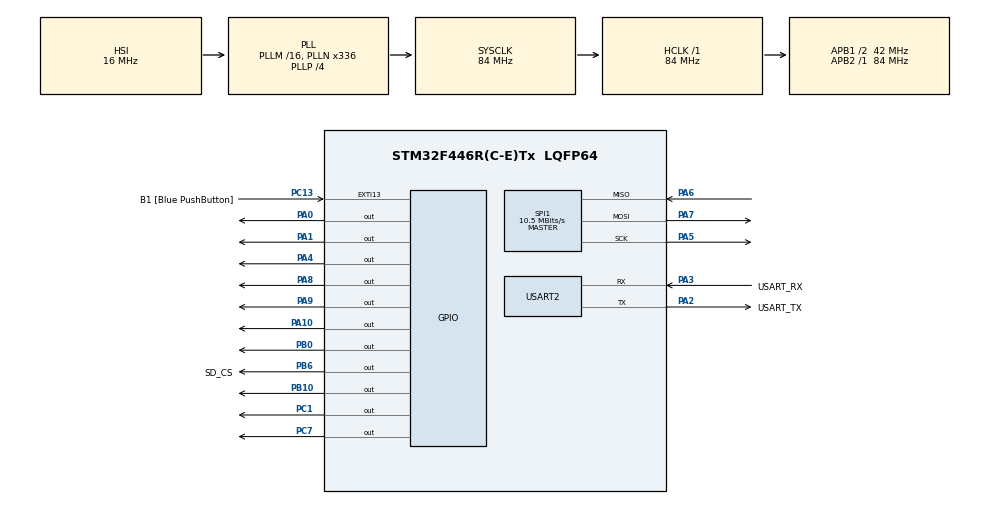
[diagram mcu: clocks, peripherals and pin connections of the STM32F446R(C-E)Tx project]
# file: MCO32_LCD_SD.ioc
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FATFS._MAX_SS=4096
FATFS._USE_LFN=1
Mcu.Family=STM32F4
Mcu.Name=STM32F446R(C-E)Tx
Mcu.Package=LQFP64
NVIC.PriorityGroup=NVIC_PRIORITYGROUP_0
PA0-WKUP.Signal=GPIO_Output
PA1.Signal=GPIO_Output
PA10.Signal=GPIO_Output
PA13.GPIO_Label=TMS
PA13.Mode=Serial_Wire
PA13.Signal=SYS_JTMS-SWDIO
PA14.GPIO_Label=TCK
PA14.Mode=Serial_Wire
PA14.Signal=SYS_JTCK-SWCLK
PA2.GPIO_Label=USART_TX
PA2.Mode=Asynchronous
PA2.Signal=USART2_TX
PA3.GPIO_Label=USART_RX
PA3.Mode=Asynchronous
PA3.Signal=USART2_RX
PA4.Signal=GPIO_Output
PA5.Mode=Full_Duplex_Master
PA5.Signal=SPI1_SCK
PA6.Mode=Full_Duplex_Master
PA6.Signal=SPI1_MISO
PA7.Mode=Full_Duplex_Master
PA7.Signal=SPI1_MOSI
PA8.Signal=GPIO_Output
PA9.Signal=GPIO_Output
PB0.Signal=GPIO_Output
PB10.Signal=GPIO_Output
PB3.GPIO_Label=SWO
PB3.Signal=SYS_JTDO-SWO
PB6.GPIO_Label=SD_CS
PB6.GPIO_Speed=GPIO_SPEED_FREQ_MEDIUM
PB6.PinState=GPIO_PIN_SET
PB6.Signal=GPIO_Output
PC1.Signal=GPIO_Output
PC13.GPIO_Label=B1 [Blue PushButton]
PC13.GPIO_ModeDefaultEXTI=GPIO_MODE_IT_FALLING
PC13.Signal=GPXTI13
PC14-OSC32_IN.Mode=LSE-External-Oscillator
PC14-OSC32_IN.Signal=RCC_OSC32_IN
PC15-OSC32_OUT.Mode=LSE-External-Oscillator
PC15-OSC32_OUT.Signal=RCC_OSC32_OUT
PC7.Signal=GPIO_Output
PH0-OSC_IN.Mode=HSE-External-Oscillator
PH0-OSC_IN.Signal=RCC_OSC_IN
PH1-OSC_OUT.Mode=HSE-External-Oscillator
PH1-OSC_OUT.Signal=RCC_OSC_OUT
ProjectManager.HeapSize=0x200
ProjectManager.StackSize=0x400
ProjectManager.TargetToolchain=STM32CubeIDE
RCC.48MHZClocksFreq_Value=84000000
RCC.AHBFreq_Value=84000000
RCC.APB1CLKDivider=RCC_HCLK_DIV2
RCC.APB1Freq_Value=42000000
RCC.APB1TimFreq_Value=84000000
RCC.APB2Freq_Value=84000000
RCC.APB2TimFreq_Value=84000000
RCC.CortexFreq_Value=84000000
RCC.FLatency-AdvancedSettings=FLASH_LATENCY_2
RCC.HCLKFreq_Value=84000000
RCC.HSE_VALUE=8000000
RCC.HSI_VALUE=16000000
RCC.PLLN=336
RCC.PLLP=RCC_PLLP_DIV4
RCC.SYSCLKFreq_VALUE=84000000
RCC.SYSCLKSource=RCC_SYSCLKSOURCE_PLLCLK
RCC.USBFreq_Value=168000000
RCC.VCOOutputFreq_Value=336000000
SPI1.BaudRatePrescaler=SPI_BAUDRATEPRESCALER_8
SPI1.CalculateBaudRate=10.5 MBits/s
SPI1.Direction=SPI_DIRECTION_2LINES
SPI1.Mode=SPI_MODE_MASTER
SPI1.VirtualType=VM_MASTER
TIM1.AutoReloadPreload=TIM_AUTORELOAD_PRELOAD_ENABLE
TIM1.Period=0xFFFF-1
TIM1.Prescaler=84-1
USART2.VirtualMode=VM_ASYNC
VP_FATFS_VS_Generic.Mode=User_defined
VP_TIM1_VS_ClockSourceINT.Mode=Internal
board=NUCLEO-F446RE

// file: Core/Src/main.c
/* USER CODE BEGIN Header */
/**
  ******************************************************************************
  * @file           : main.c
  * @brief          : Main program body
  ******************************************************************************
  * @attention
  *
  * Copyright (c) 2022 STMicroelectronics.
  * All rights reserved.
  *
  * This software is licensed under terms that can be found in the LICENSE file
  * in the root directory of this software component.
  * If no LICENSE file comes with this software, it is provided AS-IS.
  *
  ******************************************************************************
  */
/* USER CODE END Header */
#include "main.h"
#include "fatfs.h"

/* USER CODE BEGIN Includes */
#include "fonts.h"
#include "tft.h"
#include "user_setting.h"
#include "functions.h"
#include "stdio.h"
#include "fatfs_sd.h"
#include <string.h>
/* USER CODE END Includes */

/* USER CODE BEGIN PD */

#define EX1 1 //Exemplo 1 - criação e escrita - OK
//#define EX2 2 //Exemplo 2 - leitura - OK
//#define EX3 3 //Exemplo 3 - leitura de arquivo binário
//#define EX4 4 //Exemplo 4 - leitura de bitmap e escrita no LCD - OK

/* USER CODE END PD */

SPI_HandleTypeDef hspi1;

TIM_HandleTypeDef htim1;

UART_HandleTypeDef huart2;

void SystemClock_Config(void);
static void MX_GPIO_Init(void);
static void MX_USART2_UART_Init(void);
static void MX_TIM1_Init(void);
static void MX_SPI1_Init(void);
/* USER CODE BEGIN PFP */
void LCD_TxBMP(unsigned char* data, unsigned int BitmapStart);
/* USER CODE END PFP */

/* USER CODE BEGIN 0 */
FATFS fs0, fs1; /* Work area (filesystem object) for
logical drives */
FIL fsrc, fdst; /* File objects */
BYTE buffer[4096]; /* File copy buffer */
FRESULT fr; /* FatFs function common result code */
UINT br, bw; /* File read/write count */

uint16_t ID = 0; //ID do display

#if defined EX4
	uint32_t first; //Flag para leitura de .bmp
#endif

/* USER CODE END 0 */

int main(void)
{
  /* USER CODE BEGIN 1 */
	int32_t size;
	char texto[50];

#if defined EX2 || defined EX3 || defined EX4
	char nome[40];
#endif

#if defined EX3 || defined EX4
	int32_t i;
#endif
  /* USER CODE END 1 */

  /* MCU Configuration--------------------------------------------------------*/

  /* Reset of all peripherals, Initializes the Flash interface and the Systick. */
  HAL_Init();

  /* Configure the system clock */
  SystemClock_Config();

  /* Initialize all configured peripherals */
  MX_GPIO_Init();
  MX_USART2_UART_Init();
  MX_TIM1_Init();
  MX_SPI1_Init();
  MX_FATFS_Init();

  /* USER CODE BEGIN 2 */

  /* Sequência de inicialização do LCD */

  tft_gpio_init(); //Inicializa os GPIOs do LCD (evita uso do CubeMX)
  HAL_TIM_Base_Start(&htim1); //Inicializa o Timer1 (base de tempo de us do LCD)
  ID = tft_readID(); //Lê o ID do LCD (poderia ser chamada pela inicialização do LCD)
  HAL_Delay(100);
  tft_init(ID); //Inicializa o LCD de acordo com seu ID
  setRotation(0); //Ajusta a orientação da tela
  fillScreen(BLACK); //Preenche a tela em uma só cor
  //Mensagem de texto
  printnewtstr(20, YELLOW, &mono12x7bold, 1, (uint8_t *)"Teste SD Card");

#ifdef EX1 /* Início: Exemplo 1 - criação e escrita */

  size = sprintf(texto, "Exemplo de CRIACAO e ESCRITA\r\n");
  HAL_UART_Transmit(&huart2, (uint8_t *)texto, size, 100);
  //Prepara a área de trabalho para o FatFs
  fr = f_mount(&fs0, "", 0);
  if(fr != FR_OK)
  {
	  size = sprintf(texto, "f_mount error: %d\r\n", (int)fr);
	  HAL_UART_Transmit(&huart2, (uint8_t *)texto, size, 100);
	  printnewtstr(100, RED, &mono12x7bold, 1, (uint8_t *)"Falha!!!");
	  return 1;
  }
  //Cria um arquivo
  fr = f_open(&fsrc, "newfile.txt", FA_WRITE | FA_CREATE_ALWAYS); /* Cria o arquivo */
  if (fr == FR_OK)
  {
	  f_write(&fsrc, "Funcionou!\r\n", 11, &bw); /* Escreve dados no arquivo */
	  fr = f_close(&fsrc);
	  /* Fecha o arquivo */
	  if (fr == FR_OK)
	  {
		  size = sprintf(texto, "Arquivo criado com sucesso\r\n");
		  HAL_UART_Transmit(&huart2, (uint8_t *)texto, size, 100);
		  printnewtstr(100, GREEN, &mono12x7bold, 1,
				  (uint8_t *)"Sucesso!!!");
	  }
  }
  else
  {
	  size = sprintf(texto, "f_open error: %d\r\n", (int)fr);
	  HAL_UART_Transmit(&huart2, (uint8_t *)texto, size, 100);
	  printnewtstr(100, RED, &mono12x7bold, 1, (uint8_t *)"Falha!!!");
	  return 1;
  }

#endif /* Fim: Exemplo 1 - criação e escrita */

#ifdef EX2 /* Início: Exemplo 2 - leitura */

  size = sprintf(texto, "Exemplo de LEITURA\r\n");
  HAL_UART_Transmit(&huart2, (uint8_t *)texto, size, 100);
  //Prepara a área de trabalho para o FatFs
  fr = f_mount(&fs0, "", 0);
  if(fr != FR_OK)
  {
	  size = sprintf(texto, "f_mount error: %d\r\n", (int)fr);
	  HAL_UART_Transmit(&huart2, (uint8_t *)texto, size, 100);
	  printnewtstr(100, RED, &mono12x7bold, 1, (uint8_t *)"Falha1!!!");
	  return 1;
  }
  //Lê um arquivo
  buffer[0] = 0;
  strcpy(nome, "newfile.txt");
  //strcpy(nome, "texto/Teste.txt");
  fr = f_open(&fsrc, nome, FA_READ);
  if(fr == FR_OK)
  {
	  //Entra em um loop de leitura de dados do arquivo e escrita na serial e LCD
	  //até alcançar o fim do arquivo
	  do
	  {
		  //Lê um bloco de dados do arquivo. Lê o tanto que cabe no buffer,
		  //incluindo espaços e carcteres nulos
		  fr = f_read(&fsrc,
				  /* [IN] File object */
				  buffer,
				  /* [OUT] Buffer to store read data */
				  sizeof(buffer) - 1,
				  /* [IN] Number of bytes to read */
				  (UINT *)&br);
		  /* [OUT] Number of bytes read */
		  //Se houver algum erro na leitura, retorna o erro ao usuário
		  if(fr != FR_OK)
		  {
			  size = sprintf(texto, "f_read error: %d\r\n", (int)fr);
			  HAL_UART_Transmit(&huart2, (uint8_t *)texto, size, 100);
			  printnewtstr(100, RED, &mono12x7bold, 1, (uint8_t *)"Falha2!!!");
			  break;
		  }
		  //Finaliza a string com um nulo
		  buffer[br] = 0;
		  //Escreve na serial o último pedaço de arquivo lido
		  size = br;
		  HAL_UART_Transmit(&huart2, (uint8_t *)buffer, size, 1000);
		  //Escreve no LCD os últimos 16 caracteres lidos
		  printnewtstr(150, WHITE, &mono12x7bold, 1, (uint8_t *)"Leitura (<=16):");
		  if(br>16) buffer[16] = '\0';
		  else buffer[br] = '\0';
		  printnewtstr(200, WHITE, &mono12x7bold, 1, (uint8_t *)buffer);
	  }
	  while(br == sizeof(buffer) - 1);
	  //Repete até a quantidade lida for menor que o buffer, indicação que acabou o arquivo (último pacote)
  }
  if (fr == FR_OK)
  {
	  size = sprintf(texto, "\r\nArquivo lido com sucesso\r\n");
	  HAL_UART_Transmit(&huart2, (uint8_t *)texto, size, 100);
	  printnewtstr(100, GREEN, &mono12x7bold, 1, (uint8_t *)"Sucesso!!!");
  }

  fr = f_close(&fsrc);
  //Se teve sucesso
  if (fr == FR_OK)
  {
	  size = sprintf(texto, "\r\nArquivo fechado com sucesso\r\n");
	  HAL_UART_Transmit(&huart2, (uint8_t *)texto, size, 100);
  }

#endif /* Fim: Exemplo 2 - leitura */

#ifdef EX3 /* Início: Exemplo 3 - leitura de arquivo binário */
  size = sprintf(texto, "Exemplo de LEITURA de arquivo BINARIO\r\n");
  HAL_UART_Transmit(&huart2, (uint8_t *)texto, size, 100);
  //Prepara a área de trabalho para o FatFs
  fr = f_mount(&fs0, "", 0);
  if(fr != FR_OK)
  {
	  size = sprintf(texto, "f_mount error: %d\r\n", (int)fr);
	  HAL_UART_Transmit(&huart2, (uint8_t *)texto, size, 100);
	  printnewtstr(100, RED, &mono12x7bold, 1, (uint8_t *)"Falha!!!");
	  return 1;
  }
  //Lê um arquivo
  buffer[0] = 0;
  strcpy(nome, "newfile.txt");//strcpy(nome, "texto/Teste.txt");
  fr = f_open(&fsrc, nome, FA_READ);
  if(fr == FR_OK)
  {
	  //Entra em um loop de leitura de dados do arquivo e escrita na serial e LCD
	  //até alcançar o fim do arquivo
	  do
	  {
		  //Lê um bloco de dados do arquivo. Lê o tanto que cabe no buffer,
		  //incluindo espaços e carcteres nulos
		  fr = f_read(&fsrc,
				  /* [IN] File object */
				  buffer,
				  /* [OUT] Buffer to store read data */
				  sizeof(buffer) - 1,
				  /* [IN] Number of bytes to read */
				  (UINT *)&br);
		  /* [OUT] Number of bytes read */
		  //Se houver algum erro na leitura, retorna o erro ao usuário
		  if(fr != FR_OK)
		  {
			  size = sprintf(texto, "f_read error: %d\r\n", (int)fr);
			  HAL_UART_Transmit(&huart2, (uint8_t *)texto, size, 100);
			  printnewtstr(100, RED, &mono12x7bold, 1, (uint8_t *)"Falha!!!");
			  break;
		  }
		  //Finaliza a string com um nulo
		  buffer[br] = 0;
		  //Escreve na serial o último pedaço de arquivo lido
		  for (i = 0; i < br; i++)
		  {
			  size = sprintf(texto, "%02X ",buffer[i]);
			  HAL_UART_Transmit(&huart2, (uint8_t *)texto, size, 1000);
		  }
		  //Escreve no LCD os últimos 16 caracteres lidos
		  printnewtstr(150, WHITE, &mono12x7bold, 1, (uint8_t *)"Leitura Bi(<=8):");
				  i = 0;
		  size = sprintf(texto, "%02X",buffer[i++]);
		  //1os caracteres
		  printnewtstr(200, WHITE, &mono12x7bold, 1, (uint8_t *)texto);
		  //Demais caracteres
		  while(i < 8 && i < br)
		  {
			  size = sprintf(texto, "%02X",buffer[i++]);
			  printstr((uint8_t *)texto);
		  }
	  }
	  while(br == sizeof(buffer) - 1);
	  //Repete até a quantidade lida for menor que o buffer, indicação que acabou o arquivo (último pacote)
  }
  if (fr == FR_OK)
  {
	  size = sprintf(texto, "\r\nArquivo lido com sucesso\r\n");
	  HAL_UART_Transmit(&huart2, (uint8_t *)texto, size, 100);
	  printnewtstr(100, GREEN, &mono12x7bold, 1,
			  (uint8_t *)"Sucesso!!!");
  }

#endif /* Fim: Exemplo 3 - leitura de arquivo binário */

#ifdef EX4 /* Início: Exemplo 4 - leitura de bitmap e escrita no LCD */

  size = sprintf(texto, "Exemplo de LEITURA de BITMAP e escrita no LCD\r\n");
  HAL_UART_Transmit(&huart2, (uint8_t *)texto, size, 100);
  //Prepara a área de trabalho para o FatFs
  fr = f_mount(&fs0, "", 0);
  if(fr != FR_OK)
  {
	  size = sprintf(texto, "f_mount error: %d\r\n", (int)fr);
	  HAL_UART_Transmit(&huart2, (uint8_t *)texto, size, 100);
	  printnewtstr(100, RED, &mono12x7bold, 1,
			  (uint8_t *)"Falha!!!");
	  return 1;
  }
  while(1)
  {
	  /* 1a imagem */

	  //Primeiro bloco de dados, onde está o cabeçalho do BMP
	  first = 1;
	  //"Limpa" o buffer
	  buffer[0] = 0;
	  //Define o nome do arquivo BMP 24 bits a ser aberto
	  strcpy(nome, "Imagens/Homerinv.bmp");
	  //strcpy(buffer, "Imagens/Lisa.bmp");
	  //Abre o arquivo como leitura
	  fr = f_open(&fsrc, nome, FA_READ);
	  //Se teve sucesso
	  if(fr == FR_OK)
	  {
		  //Loop de leitura de setores (512 bytes), lê até acabar o arquivo
		  do
		  {
			  //Lê um setor do arquivo e armazena no buffer temporário
			  fr = f_read(&fsrc,
					  /* [IN] File object */
					  buffer,
					  /* [OUT] Buffer to store read data */
					  512,
					  /* [IN] Number of bytes to read */
					  (UINT *)&br);
			  /* [OUT] Number of bytes read *///Se ocorrer algum erro mostra na UART e aborta
			  if(fr != FR_OK)
			  {
				  size = sprintf(texto, "f_read error: %d\r\n", (int)fr);
				  HAL_UART_Transmit(&huart2, (uint8_t *)texto, size, 100);
			  }
			  //Termina o bloco lido com um caractere nulo (sem efeito para o LCD)
			  buffer[br] = 0;
			  //Envia byte a byte em hexa pela UART
			  // for (i = 0; i < br; i++)
			  // {
			  // size = sprintf(texto, "%02X ",buffer[i]);
			  // HAL_UART_Transmit(&huart2, (uint8_t *)texto, size, 1000);
			  // }
			  //Envia o setor para o LCD
			  LCD_TxBMP((unsigned char*)buffer, first);
			  //Limpa a flag de primeiro setor (cabeçalho nos primeiros 54 bytes)
			  first = 0;
		  }
		  while(br == 512);
		  //Repete até a quantidade lida for menor que o buffer, indicação que acabou o arquivo (último pacote)
		  //Fecha o arquivo (não é necessário para leitura, mas recomendado para compatibilidade futura)
		  fr = f_close(&fsrc);
		  //Se teve sucesso
		  if (fr == FR_OK)
		  {
			  size = sprintf(texto, "\r\nArquivo fechado com sucesso\r\n");
			  HAL_UART_Transmit(&huart2, (uint8_t *)texto, size, 100);
		  }
	  }
	  if (fr == FR_OK)
	  {
		  size = sprintf(texto, "\r\nArquivo 1 lido com sucesso\r\n");
		  HAL_UART_Transmit(&huart2, (uint8_t *)texto, size, 100);
	  }
	  HAL_Delay(3000);
	  printnewtstr(200, YELLOW, &mono12x7bold, 1,
			  (uint8_t *)" Escrita no LCD ");
	  printnewtstr(220, YELLOW, &mono12x7bold, 1,
			  (uint8_t *)" apos acesso ao ");
	  printnewtstr(240, YELLOW, &mono12x7bold, 1,
			  (uint8_t *)" SD Card ");
	  HAL_Delay(2000);
	  fillScreen(BLUE);
	  HAL_Delay(2000);

	  /* 2a imagem */

	  //Primeiro bloco de dados, onde está o cabeçalho do BMP
	  first = 1;
	  //"Limpa" o buffer
	  buffer[0] = 0;
	  //Define o nome do arquivo BMP 24 bits a ser aberto
	  strcpy(nome, "Imagens/Homer2in.bmp");//strcpy(buffer, "Imagens/Lisa.bmp");
	  //Abre o arquivo como leitura
	  fr = f_open(&fsrc, nome, FA_READ);
	  //Se teve sucesso
	  if(fr == FR_OK)
	  {
		  //Loop de leitura de setores (512 bytes), lê até acabar o arquivo
		  do
		  {
			  //Lê um setor do arquivo e armazena no buffer temporário
			  fr = f_read(&fsrc,
					  /* [IN]File object */
					  buffer,
					  /* [OUT] Buffer to store read data */
					  512,
					  /* [IN] Number of bytes to read */
					  (UINT *)&br);
			  /* [OUT] Number of bytes read */
			  //Se ocorrer algum erro mostra na UART e aborta
			  if(fr != FR_OK)
			  {
				  size = sprintf(texto, "f_mount error: %d\r\n", (int)fr);
				  HAL_UART_Transmit(&huart2, (uint8_t *)texto, size, 100);
			  }
			  //Termina o bloco lido com um caractere nulo (sem efeito para o LCD)
			  buffer[br] = 0;
			  //Envia byte a byte em hexa pela UART
			  // for (i = 0; i < br; i++)
			  // {
			  // size = sprintf(texto, "%02X ",buffer[i]);
			  // HAL_UART_Transmit(&huart2, (uint8_t *)texto, size, 1000);
			  // }
			  //Envia o setor para o LCD
			  LCD_TxBMP((unsigned char*)buffer, first);
			  //Limpa a flag de primeiro setor (cabeçalho nos primeiros 54 bytes)
			  first = 0;
		  }
		  while(br == 512);
		  //Repete até a quantidade lida for menor que o buffer, indicação que acabou o arquivo (último pacote)
		  //Fecha o arquivo (não é necessário para leitura, mas recomendado para compatibilidade futura)
		  fr = f_close(&fsrc);
		  //Se teve sucesso
		  if (fr == FR_OK)
		  {
			  size = sprintf(texto, "\r\nArquivo fechado com sucesso\r\n");
			  HAL_UART_Transmit(&huart2, (uint8_t *)texto, size, 100);
		  }
	  }
	  if (fr == FR_OK)
	  {
		  size = sprintf(texto, "\r\nArquivo 2 lido com sucesso\r\n");
		  HAL_UART_Transmit(&huart2, (uint8_t *)texto, size, 100);
	  }
	  HAL_Delay(3000);
	  printnewtstr(200, YELLOW, &mono12x7bold, 1,
			  (uint8_t *)" Escrita no LCD ");
	  printnewtstr(220, YELLOW, &mono12x7bold, 1,(uint8_t *)" apos acesso ao ");
	  printnewtstr(240, YELLOW, &mono12x7bold, 1,
			  (uint8_t *)" SD Card ");
	  HAL_Delay(2000);
	  fillScreen(BLACK);
	  HAL_Delay(2000);
  }

#endif /* Fim: Exemplo 4 - leitura de bitmap e escrita no LCD */

  /* USER CODE END 2 */

  /* Infinite loop */
  while (1)
  {

  }
}

void SystemClock_Config(void)
{
  RCC_OscInitTypeDef RCC_OscInitStruct = {0};
  RCC_ClkInitTypeDef RCC_ClkInitStruct = {0};

  /** Configure the main internal regulator output voltage
  */
  __HAL_RCC_PWR_CLK_ENABLE();
  __HAL_PWR_VOLTAGESCALING_CONFIG(PWR_REGULATOR_VOLTAGE_SCALE3);

  /** Initializes the RCC Oscillators according to the specified parameters
  * in the RCC_OscInitTypeDef structure.
  */
  RCC_OscInitStruct.OscillatorType = RCC_OSCILLATORTYPE_HSI;
  RCC_OscInitStruct.HSIState = RCC_HSI_ON;
  RCC_OscInitStruct.HSICalibrationValue = RCC_HSICALIBRATION_DEFAULT;
  RCC_OscInitStruct.PLL.PLLState = RCC_PLL_ON;
  RCC_OscInitStruct.PLL.PLLSource = RCC_PLLSOURCE_HSI;
  RCC_OscInitStruct.PLL.PLLM = 16;
  RCC_OscInitStruct.PLL.PLLN = 336;
  RCC_OscInitStruct.PLL.PLLP = RCC_PLLP_DIV4;
  RCC_OscInitStruct.PLL.PLLQ = 2;
  RCC_OscInitStruct.PLL.PLLR = 2;
  if (HAL_RCC_OscConfig(&RCC_OscInitStruct) != HAL_OK)
  {
    Error_Handler();
  }

  /** Initializes the CPU, AHB and APB buses clocks
  */
  RCC_ClkInitStruct.ClockType = RCC_CLOCKTYPE_HCLK|RCC_CLOCKTYPE_SYSCLK
                              |RCC_CLOCKTYPE_PCLK1|RCC_CLOCKTYPE_PCLK2;
  RCC_ClkInitStruct.SYSCLKSource = RCC_SYSCLKSOURCE_PLLCLK;
  RCC_ClkInitStruct.AHBCLKDivider = RCC_SYSCLK_DIV1;
  RCC_ClkInitStruct.APB1CLKDivider = RCC_HCLK_DIV2;
  RCC_ClkInitStruct.APB2CLKDivider = RCC_HCLK_DIV1;

  if (HAL_RCC_ClockConfig(&RCC_ClkInitStruct, FLASH_LATENCY_2) != HAL_OK)
  {
    Error_Handler();
  }
}

static void MX_SPI1_Init(void)
{

  /* SPI1 parameter configuration*/
  hspi1.Instance = SPI1;
  hspi1.Init.Mode = SPI_MODE_MASTER;
  hspi1.Init.Direction = SPI_DIRECTION_2LINES;
  hspi1.Init.DataSize = SPI_DATASIZE_8BIT;
  hspi1.Init.CLKPolarity = SPI_POLARITY_LOW;
  hspi1.Init.CLKPhase = SPI_PHASE_1EDGE;
  hspi1.Init.NSS = SPI_NSS_SOFT;
  hspi1.Init.BaudRatePrescaler = SPI_BAUDRATEPRESCALER_8;
  hspi1.Init.FirstBit = SPI_FIRSTBIT_MSB;
  hspi1.Init.TIMode = SPI_TIMODE_DISABLE;
  hspi1.Init.CRCCalculation = SPI_CRCCALCULATION_DISABLE;
  hspi1.Init.CRCPolynomial = 10;
  if (HAL_SPI_Init(&hspi1) != HAL_OK)
  {
    Error_Handler();
  }

}

static void MX_TIM1_Init(void)
{

  TIM_ClockConfigTypeDef sClockSourceConfig = {0};
  TIM_MasterConfigTypeDef sMasterConfig = {0};

  htim1.Instance = TIM1;
  htim1.Init.Prescaler = 84-1;
  htim1.Init.CounterMode = TIM_COUNTERMODE_UP;
  htim1.Init.Period = 0xFFFF-1;
  htim1.Init.ClockDivision = TIM_CLOCKDIVISION_DIV1;
  htim1.Init.RepetitionCounter = 0;
  htim1.Init.AutoReloadPreload = TIM_AUTORELOAD_PRELOAD_ENABLE;
  if (HAL_TIM_Base_Init(&htim1) != HAL_OK)
  {
    Error_Handler();
  }
  sClockSourceConfig.ClockSource = TIM_CLOCKSOURCE_INTERNAL;
  if (HAL_TIM_ConfigClockSource(&htim1, &sClockSourceConfig) != HAL_OK)
  {
    Error_Handler();
  }
  sMasterConfig.MasterOutputTrigger = TIM_TRGO_RESET;
  sMasterConfig.MasterSlaveMode = TIM_MASTERSLAVEMODE_DISABLE;
  if (HAL_TIMEx_MasterConfigSynchronization(&htim1, &sMasterConfig) != HAL_OK)
  {
    Error_Handler();
  }

}

static void MX_USART2_UART_Init(void)
{

  huart2.Instance = USART2;
  huart2.Init.BaudRate = 115200;
  huart2.Init.WordLength = UART_WORDLENGTH_8B;
  huart2.Init.StopBits = UART_STOPBITS_1;
  huart2.Init.Parity = UART_PARITY_NONE;
  huart2.Init.Mode = UART_MODE_TX_RX;
  huart2.Init.HwFlowCtl = UART_HWCONTROL_NONE;
  huart2.Init.OverSampling = UART_OVERSAMPLING_16;
  if (HAL_UART_Init(&huart2) != HAL_OK)
  {
    Error_Handler();
  }

}

static void MX_GPIO_Init(void)
{
  GPIO_InitTypeDef GPIO_InitStruct = {0};

  /* GPIO Ports Clock Enable */
  __HAL_RCC_GPIOC_CLK_ENABLE();
  __HAL_RCC_GPIOH_CLK_ENABLE();
  __HAL_RCC_GPIOA_CLK_ENABLE();
  __HAL_RCC_GPIOB_CLK_ENABLE();

  /*Configure GPIO pin Output Level */
  HAL_GPIO_WritePin(GPIOC, GPIO_PIN_1|GPIO_PIN_7, GPIO_PIN_RESET);

  /*Configure GPIO pin Output Level */
  HAL_GPIO_WritePin(GPIOA, GPIO_PIN_0|GPIO_PIN_1|GPIO_PIN_4|GPIO_PIN_8
                          |GPIO_PIN_9|GPIO_PIN_10, GPIO_PIN_RESET);

  /*Configure GPIO pin Output Level */
  HAL_GPIO_WritePin(GPIOB, GPIO_PIN_0|GPIO_PIN_10, GPIO_PIN_RESET);

  /*Configure GPIO pin Output Level */
  HAL_GPIO_WritePin(SD_CS_GPIO_Port, SD_CS_Pin, GPIO_PIN_SET);

  /*Configure GPIO pin : B1_Pin */
  GPIO_InitStruct.Pin = B1_Pin;
  GPIO_InitStruct.Mode = GPIO_MODE_IT_FALLING;
  GPIO_InitStruct.Pull = GPIO_NOPULL;
  HAL_GPIO_Init(B1_GPIO_Port, &GPIO_InitStruct);

  /*Configure GPIO pins : PC1 PC7 */
  GPIO_InitStruct.Pin = GPIO_PIN_1|GPIO_PIN_7;
  GPIO_InitStruct.Mode = GPIO_MODE_OUTPUT_PP;
  GPIO_InitStruct.Pull = GPIO_NOPULL;
  GPIO_InitStruct.Speed = GPIO_SPEED_FREQ_LOW;
  HAL_GPIO_Init(GPIOC, &GPIO_InitStruct);

  /*Configure GPIO pins : PA0 PA1 PA4 PA8
                           PA9 PA10 */
  GPIO_InitStruct.Pin = GPIO_PIN_0|GPIO_PIN_1|GPIO_PIN_4|GPIO_PIN_8
                          |GPIO_PIN_9|GPIO_PIN_10;
  GPIO_InitStruct.Mode = GPIO_MODE_OUTPUT_PP;
  GPIO_InitStruct.Pull = GPIO_NOPULL;
  GPIO_InitStruct.Speed = GPIO_SPEED_FREQ_LOW;
  HAL_GPIO_Init(GPIOA, &GPIO_InitStruct);

  /*Configure GPIO pins : PB0 PB10 */
  GPIO_InitStruct.Pin = GPIO_PIN_0|GPIO_PIN_10;
  GPIO_InitStruct.Mode = GPIO_MODE_OUTPUT_PP;
  GPIO_InitStruct.Pull = GPIO_NOPULL;
  GPIO_InitStruct.Speed = GPIO_SPEED_FREQ_LOW;
  HAL_GPIO_Init(GPIOB, &GPIO_InitStruct);

  /*Configure GPIO pin : SD_CS_Pin */
  GPIO_InitStruct.Pin = SD_CS_Pin;
  GPIO_InitStruct.Mode = GPIO_MODE_OUTPUT_PP;
  GPIO_InitStruct.Pull = GPIO_NOPULL;
  GPIO_InitStruct.Speed = GPIO_SPEED_FREQ_MEDIUM;
  HAL_GPIO_Init(SD_CS_GPIO_Port, &GPIO_InitStruct);

}

/* USER CODE BEGIN 4 */

#if defined EX4
/**
 * @brief Envia uma string como um bitmp para o LCD TFT
 * @param data é uma string com 512 bytes (1 setor de arquivo) que fazem parte da imagem
 * @param BitmapStart é uma flag que sinaliza se é o primeiro setor (onde está o cabeçalho)
 */
void LCD_TxBMP(unsigned char* data, unsigned int BitmapStart)
{
	static unsigned int tamanho = 0;
	static unsigned char sobrou[3] = {0,0,0};
	unsigned int i = 0;
	unsigned int setor = 512;
	unsigned short int cor;
	unsigned char tam[11];
	//Leandro (22/09/2020) - Ajuste para ler imagens com dimensões maiores que um byte (320x240)
		// unsigned char altura, x = 0, y = 127, bits_por_pixel;
	unsigned char bits_por_pixel;
	unsigned int altura, x = 0, y = 239; //Formato "paisagem"
	// unsigned int altura, x = 0, y = 319; //Formato "retrato"
	const unsigned int lim_altura = 240, lim_largura = 320; //Formato "paisagem" - enviar comando setRotation(1);
	// const unsigned int lim_altura = 320, lim_largura = 240; //Formato "retrato" - enviar comando setRotation(0);
	// static unsigned char largura = 0, erro_bits = 0, bytes_extras = 0, pixels_por_linha = 0;
	static unsigned int largura = 0, pixels_por_linha = 0;
	static unsigned char erro_bits = 0, bytes_extras = 0;
	//Se é o primeiro setor do arquivo, possui o cabeçalho
	if(BitmapStart)
	{
		BitmapStart = 0;
		//Reseta variável estática
		pixels_por_linha = 0;
		//Pula o cabeçalho
		i = 54;
		//Lê o tamanho da área de dados do arquivo em bytes
		tamanho = data[0x22] + (unsigned int)(data[0x23]<<8) + (unsigned int)(data[0x24]<<16) + (unsigned int)(data[0x25]<<24);
		//Leandro (22/09/2020) - Ajuste para ler imagens com dimensões maiores que um byte (320x240)
		// //Leandro (01/09/2019) - Lê a largura e a altura da imagem para definir o tamanho da janela
		// largura = data[18];
		// altura = data[22];
		largura = data[18] + (unsigned int)(data[19]<<8);
		altura = data[22] + (unsigned int)(data[23]<<8);
		//Configura a janela
		setAddrWindow(x, y-altura+1, x+largura-1, y);
		//Envia para o LCD sinalização de início de envio de dados
		inicioDados();
		//Verifica se existirão bytes extras no arquivo em função da largura da imagem
		//Obervação: Existe uma restrição de que cada linha deva ter N bytes, sendo N um número
		//divisível por 4. Caso contrário, o BMP deve ser preenchido com bytes não válidos. Por
		//exemplo, se a imagem tem 1 x 100 pixels em 24 bits/pixel, o BMP teria 3 bytes válidos em
		//cada linha e mais 1 byte que não tem qualquer significado.
		switch((largura*3)%4)
		{
		case 1: bytes_extras = 3; break;
		case 2: bytes_extras = 2; break;
		case 3: bytes_extras = 1; break;
		default: bytes_extras = 0; break;
		}
		//Lê a quantidade de bits por pixel (neste caso é aceito apenas 24 bits por  pixel)
		bits_por_pixel = data[28];
		//Testa a quatidade de bits
		//Leandro (22/09/2020) - Ajuste para ler imagens com dimensões maiores que um byte (320x240)
		// if((bits_por_pixel != 24) || (largura > 128) || (altura > 128))
		if((bits_por_pixel != 24) || (largura > lim_largura) || (altura > lim_altura))
			erro_bits = 1;
		else
			erro_bits = 0;
	}
	//Se houver erro na quantidade de bits retorna e não envia para o LCD
	if(erro_bits)
	{
		return;
	}
	//Envia os pixels enquanto não acabar o setor ou o Bitmap
	while((i <= (512-3)) && (tamanho >= 3)) //24 bits por pixels
	{
		//Se completou uma linha
		if(pixels_por_linha == largura)
		{
			//Zera o contador
			pixels_por_linha = 0;
			//Verifica se tem bytes nulos para ignorar
			if(bytes_extras >= sobrou[0])
			{
				//Desconta os bytes_extras-sobrou[0] do tamanho do setor
				tamanho -= (bytes_extras-sobrou[0]);
				//Incrementa a posição do byte a ser lido do setor
				i += (bytes_extras-sobrou[0]);
				//Atualiza o valor da sobra
				sobrou[0] = 0;
				//Verifica se não cabe mais nenhum pixel, encerra o loop
				if((i>(512-3)) || (tamanho < 3))
					break;
			}
			else
			{
				//Atualiza o valor da sobra
				sobrou[0] -= bytes_extras;
			}
			//break;
			if(tamanho<3)
				break;
		}
		if(sobrou[0] == 0) //Tamanho -= 3
		{
			//((r & 0xF8) << 8) | ((g & 0xFC) << 3) | (b >> 3);
			//Seguencia BGR (24 bits) --> RGB (565)
			cor = (data[i] >> 3) | ((data[i+1] & 0xFC) << 3) | ((data[i+2] & 0xF8) << 8);
			i += 3;
			tamanho -= 3;
		}
		else if(sobrou[0] == 1) //Tamanho -= 2
		{//Sobrou a cor Azul
			cor = (sobrou[2] >> 3) | ((data[i] & 0xFC) << 3) | ((data[i+1] & 0xF8) << 8);
			i += 2;
			tamanho -= 2;
		}
		else if(sobrou[0] == 2) //Tamanho -= 1
		{
			//Sobrou a cor Azul e Verde
			cor = (sobrou[1] >> 3) | ((sobrou[2] & 0xFC) << 3) | ((data[i] & 0xF8) << 8);
			i += 1;
			tamanho -= 1;
		}
		else
		{
			i = 512;
			setor = 0;
			tamanho = 0;
			break;
		}
		//Envia pixel 565 para o LCD
		desenhaPixel(cor);
		sobrou[0] = 0; //Sobra algum byte apenas no final do setor (i>= 510)
		//Incrementa o número de pixels enviados por linha e testa
		pixels_por_linha++;
	}
	//Se ainda não acabou o arquivo
	if(tamanho >= 3)
	{
		//Salva o número de bytes que sobraram para formar um pixel
		sobrou[0] = 512 - i;
		//Completa os 512 bytes do setor
		tamanho -= sobrou[0];
		//Salva o penúltimo byte
		sobrou[1] = data[510];
		//Salva o último byte
		sobrou[2] = data[511];
	}
	else
	{
		//Envia para o LCD sinalização de fim de envio de dados
		fimDados();
	}
}

#endif

/* USER CODE END 4 */

void Error_Handler(void)
{
  __disable_irq();
  while (1)
  {
  }
}
